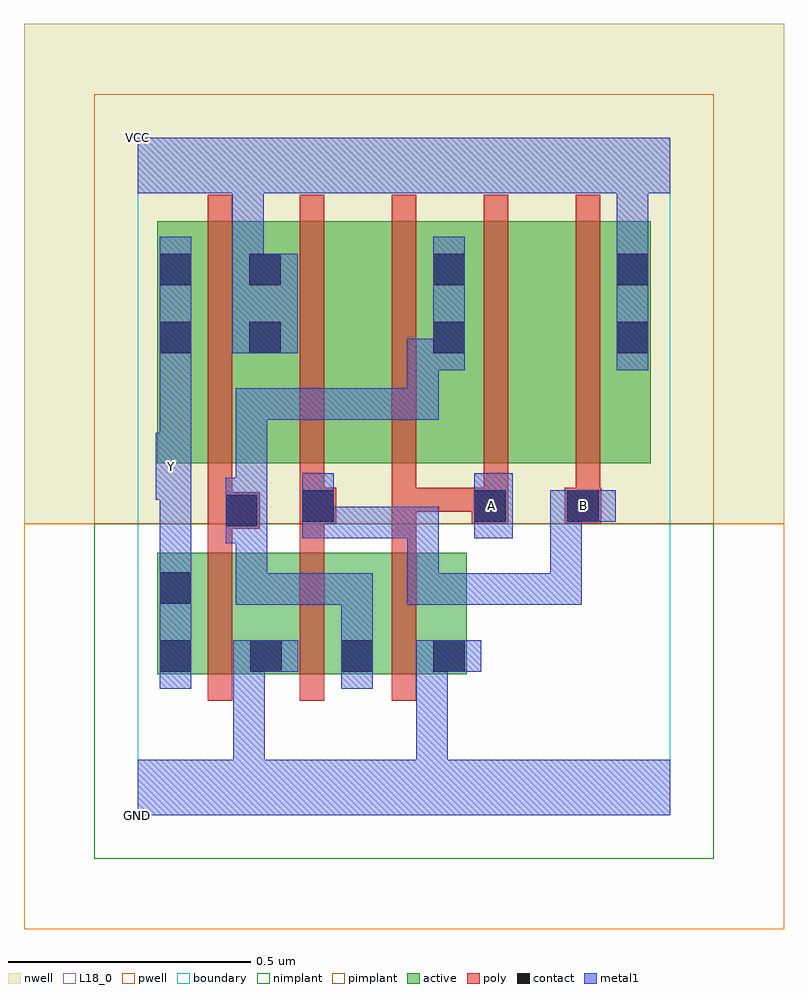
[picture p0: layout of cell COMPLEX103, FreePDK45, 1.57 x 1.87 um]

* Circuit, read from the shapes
.subckt COMPLEX103 A B GND VCC Y
M1 GND n1 Y VSUBS nfet w=0.25u l=0.05u
M2 n1 B GND VSUBS nfet w=0.25u l=0.05u
M3 GND A n1 VSUBS nfet w=0.25u l=0.05u
M4 VCC n1 Y n2 pfet w=0.5u l=0.05u
M5 n3 B VCC n2 pfet w=0.5u l=0.05u
M6 n1 A n3 n2 pfet w=0.5u l=0.05u
M7 n4 A n1 n2 pfet w=0.5u l=0.05u
M8 VCC B n4 n2 pfet w=0.5u l=0.05u
.ends

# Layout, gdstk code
import gdstk
lib = gdstk.Library(unit=1e-6, precision=1e-09)
def R(c, l, rs):  # rectangles x0, y0, x1, y1
    for r in rs: c.add(gdstk.rectangle(r[:2], r[2:], *l))
def A(c, l, x, y, w, h, nx, ny, dx, dy):  # array of equal rectangles
    R(c, l, [(x+i*dx, y+j*dy, x+i*dx+w, y+j*dy+h) for i in range(nx) for j in range(ny)])
active = (1, 0)
pwell = (2, 0)
nwell = (3, 0)
nimplant = (4, 0)
pimplant = (5, 0)
poly = (9, 0)
contact = (10, 0)
metal1 = (11, 0)
L18_0 = (18, 0)
boundary = (235, 0)

complex103 = lib.new_cell('COMPLEX103')
R(complex103, active, [(0.04,0.292,0.115,0.542), (0.04,0.292,0.302,0.542), (0.227,0.292,0.302,0.367), (0.227,0.292,0.49,0.542), (0.415,0.292,0.68,0.542), (0.415,0.292,0.49,0.367), (0.605,0.292,0.68,0.542), (0.04,0.727,0.115,1.165), (0.04,0.727,0.3,1.227), (0.225,0.727,0.3,1.227), (0.225,0.727,0.455,1.227), (0.455,0.727,0.68,1.227), (0.605,0.727,0.835,1.227), (0.605,0.727,0.68,1.165), (0.835,0.727,1.06,1.227), (0.985,0.727,1.06,1.227)])
R(complex103, pwell, [(-0.235,-0.235,1.335,0.602)])
R(complex103, nwell, [(-0.235,0.602,1.335,1.635)])
R(complex103, nimplant, [(-0.09,-0.09,1.19,0.602)])
R(complex103, pimplant, [(-0.09,0.602,1.19,1.49)])
A(complex103, poly, 0.145, 0.237, 0.05, 0.36, 3, 1, 0.19, 0)
A(complex103, poly, 0.335, 0.627, 0.05, 0.095, 4, 1, 0.19, 0)
A(complex103, poly, 0.145, 0.672, 0.05, 0.61, 5, 1, 0.19, 0)
R(complex103, poly, [(0.145,0.547,0.195,0.642), (0.335,0.547,0.385,0.652), (0.525,0.547,0.575,0.677), (0.145,0.592,0.252,0.667), (0.335,0.602,0.41,0.677), (0.69,0.602,0.765,0.677), (0.882,0.602,0.957,0.677), (0.145,0.617,0.195,0.722), (0.525,0.627,0.575,0.677), (0.525,0.627,0.74,0.677), (0.69,0.627,0.74,0.677), (0.69,0.627,0.74,0.677)])
A(complex103, contact, 0.23, 0.955, 0.065, 0.065, 3, 2, 0.38, 0.14)
R(complex103, contact, [(0.045,0.297,0.11,0.362), (0.232,0.297,0.297,0.362), (0.42,0.297,0.485,0.362), (0.61,0.297,0.675,0.362), (0.045,0.437,0.11,0.502), (0.182,0.597,0.247,0.662), (0.34,0.607,0.405,0.672), (0.695,0.607,0.76,0.672), (0.887,0.607,0.952,0.672), (0.045,0.955,0.11,1.02), (0.045,1.095,0.11,1.16)])
R(complex103, metal1, [(0,0,1.1,0.115), (0.197,0.05,0.262,0.115), (0.197,0.05,0.262,0.115), (0.197,0.05,0.262,0.115), (0.197,0.05,0.262,0.115), (0.197,0.05,0.262,0.362), (0.575,0.05,0.64,0.115), (0.575,0.05,0.64,0.115), (0.575,0.05,0.64,0.115), (0.575,0.05,0.64,0.115), (0.575,0.05,0.64,0.362), (0.045,0.262,0.11,0.537), (0.42,0.262,0.485,0.467), (0.197,0.297,0.332,0.362), (0.575,0.297,0.71,0.362), (0.42,0.402,0.485,0.467), (0.42,0.402,0.485,0.5), (0.202,0.435,0.267,0.5), (0.202,0.435,0.485,0.5), (0.202,0.435,0.267,0.697), (0.557,0.435,0.622,0.5), (0.557,0.435,0.777,0.5), (0.557,0.435,0.622,0.637), (0.712,0.435,0.777,0.5), (0.712,0.435,0.917,0.5), (0.852,0.435,0.917,0.5), (0.852,0.435,0.917,0.672), (0.045,0.472,0.11,0.717), (0.182,0.562,0.247,0.697), (0.34,0.572,0.405,0.637), (0.34,0.572,0.405,0.637), (0.34,0.572,0.622,0.637), (0.34,0.572,0.405,0.707), (0.557,0.572,0.622,0.637), (0.557,0.572,0.622,0.637), (0.557,0.572,0.622,0.637), (0.695,0.572,0.775,0.707), (0.852,0.607,0.917,0.672), (0.852,0.607,0.917,0.672), (0.852,0.607,0.987,0.672), (0.182,0.632,0.267,0.697), (0.202,0.632,0.267,0.697), (0.202,0.632,0.267,0.882), (0.037,0.652,0.11,0.79), (0.045,0.725,0.11,0.985), (0.202,0.817,0.267,0.882), (0.202,0.817,0.485,0.882), (0.42,0.817,0.485,0.882), (0.42,0.817,0.485,0.882), (0.42,0.817,0.485,0.882), (0.42,0.817,0.622,0.882), (0.557,0.817,0.622,0.985), (0.045,0.92,0.11,1.195), (0.557,0.92,0.675,0.985), (0.61,0.92,0.675,1.195), (0.99,0.92,1.055,1.195), (0.195,0.955,0.33,1.16), (0.195,1.095,0.26,1.16), (0.195,1.095,0.26,1.16), (0.195,1.095,0.26,1.35), (0.99,1.13,1.055,1.195), (0.99,1.13,1.055,1.195), (0.99,1.13,1.055,1.35), (0,1.285,1.1,1.4)])
R(complex103, L18_0, [(0,0,1.1,0.115), (0.197,0.05,0.262,0.115), (0.197,0.05,0.262,0.115), (0.197,0.05,0.262,0.115), (0.197,0.05,0.262,0.115), (0.197,0.05,0.262,0.362), (0.575,0.05,0.64,0.115), (0.575,0.05,0.64,0.115), (0.575,0.05,0.64,0.115), (0.575,0.05,0.64,0.115), (0.575,0.05,0.64,0.362), (0.045,0.262,0.11,0.537), (0.197,0.297,0.332,0.362), (0.575,0.297,0.71,0.362), (0.557,0.435,0.622,0.5), (0.557,0.435,0.622,0.637), (0.557,0.435,0.777,0.5), (0.712,0.435,0.777,0.5), (0.712,0.435,0.917,0.5), (0.852,0.435,0.917,0.5), (0.852,0.435,0.917,0.672), (0.045,0.472,0.11,0.717), (0.34,0.572,0.405,0.637), (0.34,0.572,0.405,0.637), (0.34,0.572,0.405,0.707), (0.34,0.572,0.622,0.637), (0.557,0.572,0.622,0.637), (0.557,0.572,0.622,0.637), (0.557,0.572,0.622,0.637), (0.695,0.572,0.775,0.707), (0.697,0.607,0.762,0.672), (0.852,0.607,0.917,0.672), (0.852,0.607,0.917,0.672), (0.852,0.607,0.987,0.672), (0.887,0.607,0.952,0.672), (0.037,0.652,0.11,0.79), (0.037,0.687,0.102,0.752), (0.045,0.725,0.11,0.985), (0.045,0.92,0.11,1.195), (0.99,0.92,1.055,1.195), (0.195,0.955,0.33,1.16), (0.195,1.095,0.26,1.16), (0.195,1.095,0.26,1.16), (0.195,1.095,0.26,1.35), (0.99,1.13,1.055,1.195), (0.99,1.13,1.055,1.195), (0.99,1.13,1.055,1.35), (0,1.285,1.1,1.4)])
R(complex103, boundary, [(0,0,1.1,1.4)])
complex103.add(gdstk.Label('A', (0.73,0.64), layer=11, texttype=0))
complex103.add(gdstk.Label('B', (0.92,0.64), layer=11, texttype=0))
complex103.add(gdstk.Label('Y', (0.07,0.72), layer=11, texttype=0))
complex103.add(gdstk.Label('VCC', (0,1.4), layer=11, texttype=0))
complex103.add(gdstk.Label('GND', (0,0), layer=11, texttype=0))

lib.write_gds('COMPLEX103.gds')
